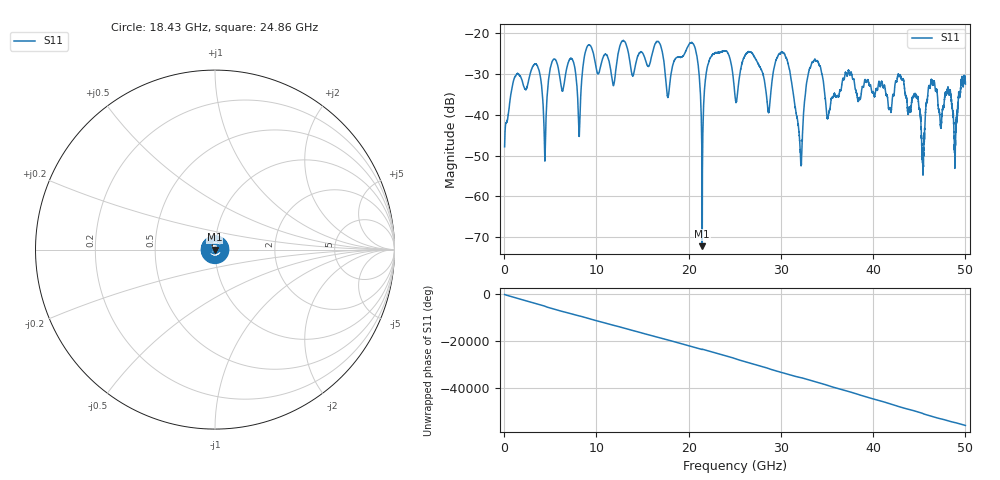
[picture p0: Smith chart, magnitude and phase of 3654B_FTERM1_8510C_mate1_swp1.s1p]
!Created with skrf (http://scikit-rf.org).
# Hz S RI R 50.0
!freq ReS11 ImS11
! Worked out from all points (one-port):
!   10001 points, 45 MHz to 50 GHz, reference 50 ohm
!   lowest |S11| = -72.2 dB at 21.47 GHz (marker M1), VSWR 1.00, Z = 50 - j0.00644 ohm
!   |S11| at or under -10 dB: start of sweep to end of sweep
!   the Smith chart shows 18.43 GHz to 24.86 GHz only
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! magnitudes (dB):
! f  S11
! 45 MHz  -47.9
! 1.334 GHz  -30.1
! 3.562 GHz  -27.9
! 4.401 GHz  -50.9
! 5.23 GHz  -26.8
! 6.289 GHz  -34.2
! 8.133 GHz  -45.1
! 12.53 GHz  -23.2
! 16.73 GHz  -22.1
! 17.76 GHz  -35.7
! 18.78 GHz  -25.9
! 20.61 GHz  -23.1
! 21.47 GHz  -72.2
! 22.67 GHz  -25.1
! 25.02 GHz  -35.5
! 26.58 GHz  -24.6
! 28.63 GHz  -39.3
! 29.95 GHz  -25.1
! 31.27 GHz  -33.6
! 32.14 GHz  -51.1
! 33.48 GHz  -27.0
! 35.12 GHz  -40.4
! 37.51 GHz  -30.1
! 43.76 GHz  -39.2
! 45.39 GHz  -53.7
! 46.2 GHz  -33.0
! 48.9 GHz  -48.1
! 50 GHz  -32.5
